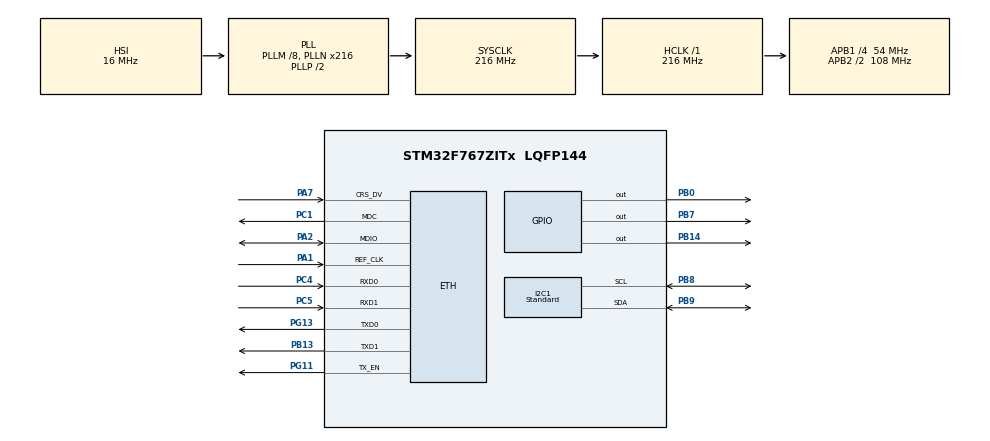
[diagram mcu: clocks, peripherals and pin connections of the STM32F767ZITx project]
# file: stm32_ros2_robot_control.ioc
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ETH.MediaInterface=HAL_ETH_RMII_MODE
FREERTOS.Tasks01=ethernetTask,-3,256,ethernetStatusCheck,Default,NULL,Dynamic,NULL,NULL;robotTask,-3,256,robotControl,Default,NULL,Dynamic,NULL,NULL;rosTask,0,5840,ros,Default,NULL,Dynamic,NULL,NULL
FREERTOS.configCHECK_FOR_STACK_OVERFLOW=1
FREERTOS.configTOTAL_HEAP_SIZE=30000
FREERTOS.configUSE_NEWLIB_REENTRANT=1
I2C1.I2C_Speed_Mode=I2C_Standard
I2C1.Timing=0x20404768
LWIP.BSP.number=1
LWIP.GATEWAY_ADDRESS=192.168.010.001
LWIP.IP_ADDRESS=192.168.010.023
LWIP.LWIP_DHCP=0
LWIP.LWIP_HTTPD=0
LWIP.NETMASK_ADDRESS=255.255.255.000
LWIP.Version=v2.1.2_Cube
LWIP0.BSP.STBoard=false
LWIP0.BSP.api=BSP_COMPONENT_DRIVER
LWIP0.BSP.component=LAN8742
LWIP0.BSP.instance=LAN8742
LWIP0.BSP.name=Driver_PHY
LWIP0.BSP.semaphore=S_LAN8742
LWIP0.BSP.solution=LAN8742
Mcu.Family=STM32F7
Mcu.Name=STM32F767ZITx
Mcu.Package=LQFP144
NVIC.ETH_IRQn=true\:5\:0\:false\:false\:true\:true\:false\:true\:true
NVIC.PriorityGroup=NVIC_PRIORITYGROUP_4
NVIC.TIM1_BRK_TIM9_IRQn=true\:15\:0\:false\:false\:true\:false\:false\:true\:true
NVIC.TimeBase=TIM1_BRK_TIM9_IRQn
NVIC.TimeBaseIP=TIM9
PA1.Mode=RMII
PA1.Signal=ETH_REF_CLK
PA2.Mode=RMII
PA2.Signal=ETH_MDIO
PA7.Mode=RMII
PA7.Signal=ETH_CRS_DV
PB0.Signal=GPIO_Output
PB13.Mode=RMII
PB13.Signal=ETH_TXD1
PB14.Signal=GPIO_Output
PB7.Signal=GPIO_Output
PB8.Mode=I2C
PB8.Signal=I2C1_SCL
PB9.Mode=I2C
PB9.Signal=I2C1_SDA
PC1.Mode=RMII
PC1.Signal=ETH_MDC
PC4.Mode=RMII
PC4.Signal=ETH_RXD0
PC5.Mode=RMII
PC5.Signal=ETH_RXD1
PG11.Mode=RMII
PG11.Signal=ETH_TX_EN
PG13.Mode=RMII
PG13.Signal=ETH_TXD0
ProjectManager.HeapSize=0x200
ProjectManager.StackSize=0x400
ProjectManager.TargetToolchain=STM32CubeIDE
RCC.AHBFreq_Value=216000000
RCC.APB1CLKDivider=RCC_HCLK_DIV4
RCC.APB1Freq_Value=54000000
RCC.APB1TimFreq_Value=108000000
RCC.APB2CLKDivider=RCC_HCLK_DIV2
RCC.APB2Freq_Value=108000000
RCC.APB2TimFreq_Value=216000000
RCC.CortexFreq_Value=216000000
RCC.HCLKFreq_Value=216000000
RCC.HSE_VALUE=25000000
RCC.HSI_VALUE=16000000
RCC.LSE_VALUE=32768
RCC.PLLM=8
RCC.PLLN=216
RCC.SYSCLKFreq_VALUE=216000000
RCC.SYSCLKSource=RCC_SYSCLKSOURCE_PLLCLK
RCC.USBFreq_Value=216000000
RCC.VCOOutputFreq_Value=432000000
VP_FREERTOS_VS_CMSIS_V1.Mode=CMSIS_V1
VP_LWIP_VS_Enabled.Mode=Enabled
VP_SYS_VS_tim9.Mode=TIM9
board=custom

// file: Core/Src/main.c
/* USER CODE BEGIN Header */
/**
  ******************************************************************************
  * @file           : main.c
  * @brief          : Main program body
  ******************************************************************************
  * @attention
  *
  * Copyright (c) 2025 STMicroelectronics.
  * All rights reserved.
  *
  * This software is licensed under terms that can be found in the LICENSE file
  * in the root directory of this software component.
  * If no LICENSE file comes with this software, it is provided AS-IS.
  *
  ******************************************************************************
  */
/* USER CODE END Header */
#include "main.h"
#include "cmsis_os.h"
#include "lwip.h"

/* USER CODE BEGIN Includes */
#include <stdbool.h>
#include <time.h>
#include <math.h>
#include <string.h>
#include <stdio.h>
#include "robot.h"

// Basic micro-ROS includes
#include <rcl/rcl.h>
#include <rclc/rclc.h>
#include <rclc/executor.h>
#include <rmw_microros/rmw_microros.h>
#include <std_msgs/msg/int32.h>
#include <std_msgs/msg/string.h>
#include <sensor_msgs/msg/joint_state.h>
#include <control_msgs/msg/joint_jog.h>
#include <trajectory_msgs/msg/joint_trajectory.h>
#include <uxr/client/transport.h>
/* USER CODE END Includes */

I2C_HandleTypeDef hi2c1;

osThreadId ethernetTaskHandle;
osThreadId robotTaskHandle;
osThreadId rosTaskHandle;
/* USER CODE BEGIN PV */
extern struct netif gnetif;

// Joint state variables for ros2_control integration
#define NUM_JOINTS 3
static double current_joint_positions[NUM_JOINTS] = {0.0, 0.0, 0.0};
static double target_joint_positions[NUM_JOINTS] = {0.0, 0.0, 0.0};
static double joint_velocities[NUM_JOINTS] = {0.0, 0.0, 0.0};
static double joint_efforts[NUM_JOINTS] = {0.0, 0.0, 0.0};

// Simple micro-ROS variables
rcl_node_t node;
rcl_publisher_t publisher;
rcl_subscription_t subscriber;
rcl_subscription_t joint_cmd_subscriber;
rcl_subscription_t trajectory_subscriber;
rclc_support_t support;
rclc_executor_t executor;
sensor_msgs__msg__JointState pub_msg;
std_msgs__msg__String sub_msg;
control_msgs__msg__JointJog joint_cmd_msg;
trajectory_msgs__msg__JointTrajectory trajectory_msg;

/* USER CODE END PV */

void SystemClock_Config(void);
static void MX_GPIO_Init(void);
static void MX_I2C1_Init(void);
void ethernetStatusCheck(void const * argument);
void robotControl(void const * argument);
void ros(void const * argument);

/* USER CODE BEGIN PFP */
void debugNetworkStatus(void);

// Simple micro-ROS functions
void joint_command_callback(const void * msgin);
void trajectory_callback(const void * msgin);

// Transport function prototypes (from udp_transport.c)
bool cubemx_transport_open(struct uxrCustomTransport * transport);
bool cubemx_transport_close(struct uxrCustomTransport * transport);
size_t cubemx_transport_write(struct uxrCustomTransport* transport, const uint8_t * buf, size_t len, uint8_t * err);
size_t cubemx_transport_read(struct uxrCustomTransport* transport, uint8_t* buf, size_t len, int timeout, uint8_t* err);
/* USER CODE END PFP */

/* USER CODE BEGIN 0 */

int _gettimeofday(struct timeval *tv, void *tzvp)
{
  (void)tzvp;
  uint64_t t = HAL_GetTick();
  tv->tv_sec = t / 1000;
  tv->tv_usec = (t % 1000) * 1000;
  return 0;
}

// Joint command callback for ros2_control integration
void joint_command_callback(const void * msgin)
{
  // Toggle blue LED to indicate callback entry
  HAL_GPIO_TogglePin(GPIOB, GPIO_PIN_7);

  const control_msgs__msg__JointJog * msg = (const control_msgs__msg__JointJog *)msgin;

  // Enhanced safety checks - CRITICAL for preventing crashes
  if (msg == NULL) {
    HAL_GPIO_TogglePin(GPIOB, GPIO_PIN_7); // Exit indicator
    return;
  }

  // Check if joint_names array exists and has valid size
  if (msg->joint_names.data == NULL || msg->joint_names.size == 0 || msg->joint_names.size > NUM_JOINTS) {
    HAL_GPIO_TogglePin(GPIOB, GPIO_PIN_7); // Exit indicator
    return;
  }

  // Check if displacements array exists and has valid size
  if (msg->displacements.data == NULL || msg->displacements.size == 0) {
    HAL_GPIO_TogglePin(GPIOB, GPIO_PIN_7); // Exit indicator
    return;
  }

  // Process joint commands with bounds checking
  size_t max_joints = (msg->joint_names.size < msg->displacements.size) ? msg->joint_names.size : msg->displacements.size;
  max_joints = (max_joints < NUM_JOINTS) ? max_joints : NUM_JOINTS;

  for (size_t i = 0; i < max_joints; i++) {
    // Validate displacement value
    double displacement = msg->displacements.data[i];

    // Check for NaN or infinite values
    if (!isfinite(displacement)) {
      continue; // Skip invalid values
    }

    // Clamp displacement to safe range (-π to π)
    if (displacement > 180) displacement = 180;
    if (displacement < 0) displacement = 0;

    // Update target position
    target_joint_positions[i] = displacement;

    /*// Convert radians to servo angle (0-180 degrees) with safety clamping
    double angle_rad = displacement;
    angle_rad = fmax(-M_PI/2, fmin(M_PI/2, angle_rad)); // Clamp to safe servo range
    uint8_t servo_angle = (uint8_t)((angle_rad + M_PI/2) * 180.0 / M_PI);

    // Additional servo angle validation
    if (servo_angle > 180) servo_angle = 180;
    */
    // Send command to servo (commented out for safety during debugging)
    set_servo(i, displacement);

    // Update current position for feedback
    current_joint_positions[i] = displacement;
  }

  // Toggle blue LED to indicate successful processing
  HAL_GPIO_TogglePin(GPIOB, GPIO_PIN_7);
}

// Trajectory callback for ros2_control integration
void trajectory_callback(const void * msgin)
{
  // Toggle blue LED to indicate callback entry
  HAL_GPIO_TogglePin(GPIOB, GPIO_PIN_7);

  const trajectory_msgs__msg__JointTrajectory * msg = (const trajectory_msgs__msg__JointTrajectory *)msgin;

  // Enhanced safety checks
  if (msg == NULL) {
    HAL_GPIO_TogglePin(GPIOB, GPIO_PIN_7);
    return;
  }

  // Check if points array exists and has data
  if (msg->points.data == NULL || msg->points.size == 0) {
    HAL_GPIO_TogglePin(GPIOB, GPIO_PIN_7);
    return;
  }

  // Get the first trajectory point with safety checks
  trajectory_msgs__msg__JointTrajectoryPoint* point = &msg->points.data[0];
  if (point == NULL) {
    HAL_GPIO_TogglePin(GPIOB, GPIO_PIN_7);
    return;
  }

  // Check positions array
  if (point->positions.data == NULL || point->positions.size == 0 || point->positions.size > NUM_JOINTS) {
    HAL_GPIO_TogglePin(GPIOB, GPIO_PIN_7);
    return;
  }

  // Process positions with bounds checking
  size_t max_joints = (point->positions.size < NUM_JOINTS) ? point->positions.size : NUM_JOINTS;

  for (size_t i = 0; i < max_joints; i++) {
    // Validate position value
    double position = point->positions.data[i];

    // Check for NaN or infinite values
    if (!isfinite(position)) {
      continue; // Skip invalid values
    }

    // Clamp position to safe range
    if (position > M_PI) position = M_PI;
    if (position < -M_PI) position = -M_PI;

    // Update target position
    target_joint_positions[i] = position;

    // Convert radians to servo angle with safety clamping
    double angle_rad = position;
    angle_rad = fmax(-M_PI/2, fmin(M_PI/2, angle_rad)); // Clamp to safe servo range
    uint8_t servo_angle = (uint8_t)((angle_rad + M_PI/2) * 180.0 / M_PI);

    // Additional servo angle validation
    if (servo_angle > 180) servo_angle = 180;

    // Send command to servo (commented out for safety during debugging)
    // set_servo(i, servo_angle);

    // Update current position
    current_joint_positions[i] = angle_rad;
  }

  // Handle velocities if provided and valid
  if (point->velocities.data != NULL && point->velocities.size > 0) {
    size_t max_vel_joints = (point->velocities.size < NUM_JOINTS) ? point->velocities.size : NUM_JOINTS;
    for (size_t i = 0; i < max_vel_joints; i++) {
      double velocity = point->velocities.data[i];
      if (isfinite(velocity)) {
        // Clamp velocity to reasonable range
        if (velocity > 10.0) velocity = 10.0;
        if (velocity < -10.0) velocity = -10.0;
        joint_velocities[i] = velocity;
      }
    }
  }

  // Handle efforts if provided and valid
  if (point->effort.data != NULL && point->effort.size > 0) {
    size_t max_eff_joints = (point->effort.size < NUM_JOINTS) ? point->effort.size : NUM_JOINTS;
    for (size_t i = 0; i < max_eff_joints; i++) {
      double effort = point->effort.data[i];
      if (isfinite(effort)) {
        // Clamp effort to reasonable range
        if (effort > 100.0) effort = 100.0;
        if (effort < -100.0) effort = -100.0;
        joint_efforts[i] = effort;
      }
    }
  }

  // Toggle blue LED to indicate successful processing
  HAL_GPIO_TogglePin(GPIOB, GPIO_PIN_7);
}

void debugNetworkStatus(void)
{
  if (netif_is_up(&gnetif) && netif_is_link_up(&gnetif)) {
    // Network is fully working - solid green
    HAL_GPIO_WritePin(GPIOB, GPIO_PIN_14, GPIO_PIN_RESET);  // Red OFF
    HAL_GPIO_WritePin(GPIOB, GPIO_PIN_0, GPIO_PIN_SET);     // Green ON
  } else {
    // No physical link - solid red
    HAL_GPIO_WritePin(GPIOB, GPIO_PIN_0, GPIO_PIN_RESET);   // Green OFF
    HAL_GPIO_WritePin(GPIOB, GPIO_PIN_14, GPIO_PIN_SET);    // Red ON
  }
}
/* USER CODE END 0 */

int main(void)
{

  /* MCU Configuration--------------------------------------------------------*/

  /* Reset of all peripherals, Initializes the Flash interface and the Systick. */
  HAL_Init();

  /* Configure the system clock */
  SystemClock_Config();

  /* Initialize all configured peripherals */
  MX_GPIO_Init();
  MX_I2C1_Init();
  /* USER CODE BEGIN 2 */
  HAL_Delay(100);
  /* USER CODE END 2 */

  /* Create the thread(s) */
  /* definition and creation of ethernetTask */
  osThreadDef(ethernetTask, ethernetStatusCheck, osPriorityIdle, 0, 256);
  ethernetTaskHandle = osThreadCreate(osThread(ethernetTask), NULL);

  /* definition and creation of robotTask */
  osThreadDef(robotTask, robotControl, osPriorityIdle, 0, 256);
  robotTaskHandle = osThreadCreate(osThread(robotTask), NULL);

  /* definition and creation of rosTask */
  osThreadDef(rosTask, ros, osPriorityNormal, 0, 3840);
  rosTaskHandle = osThreadCreate(osThread(rosTask), NULL);

  /* Start scheduler */
  osKernelStart();

  /* We should never get here as control is now taken by the scheduler */

  /* Infinite loop */
  while (1)
  {

  }
}

void SystemClock_Config(void)
{
  RCC_OscInitTypeDef RCC_OscInitStruct = {0};
  RCC_ClkInitTypeDef RCC_ClkInitStruct = {0};

  /** Configure the main internal regulator output voltage
  */
  __HAL_RCC_PWR_CLK_ENABLE();
  __HAL_PWR_VOLTAGESCALING_CONFIG(PWR_REGULATOR_VOLTAGE_SCALE1);

  /** Initializes the RCC Oscillators according to the specified parameters
  * in the RCC_OscInitTypeDef structure.
  */
  RCC_OscInitStruct.OscillatorType = RCC_OSCILLATORTYPE_HSI;
  RCC_OscInitStruct.HSIState = RCC_HSI_ON;
  RCC_OscInitStruct.HSICalibrationValue = RCC_HSICALIBRATION_DEFAULT;
  RCC_OscInitStruct.PLL.PLLState = RCC_PLL_ON;
  RCC_OscInitStruct.PLL.PLLSource = RCC_PLLSOURCE_HSI;
  RCC_OscInitStruct.PLL.PLLM = 8;
  RCC_OscInitStruct.PLL.PLLN = 216;
  RCC_OscInitStruct.PLL.PLLP = RCC_PLLP_DIV2;
  RCC_OscInitStruct.PLL.PLLQ = 2;
  RCC_OscInitStruct.PLL.PLLR = 2;
  if (HAL_RCC_OscConfig(&RCC_OscInitStruct) != HAL_OK)
  {
    Error_Handler();
  }

  /** Activate the Over-Drive mode
  */
  if (HAL_PWREx_EnableOverDrive() != HAL_OK)
  {
    Error_Handler();
  }

  /** Initializes the CPU, AHB and APB buses clocks
  */
  RCC_ClkInitStruct.ClockType = RCC_CLOCKTYPE_HCLK|RCC_CLOCKTYPE_SYSCLK
                              |RCC_CLOCKTYPE_PCLK1|RCC_CLOCKTYPE_PCLK2;
  RCC_ClkInitStruct.SYSCLKSource = RCC_SYSCLKSOURCE_PLLCLK;
  RCC_ClkInitStruct.AHBCLKDivider = RCC_SYSCLK_DIV1;
  RCC_ClkInitStruct.APB1CLKDivider = RCC_HCLK_DIV4;
  RCC_ClkInitStruct.APB2CLKDivider = RCC_HCLK_DIV2;

  if (HAL_RCC_ClockConfig(&RCC_ClkInitStruct, FLASH_LATENCY_7) != HAL_OK)
  {
    Error_Handler();
  }
}

static void MX_I2C1_Init(void)
{

  hi2c1.Instance = I2C1;
  hi2c1.Init.Timing = 0x20404768;
  hi2c1.Init.OwnAddress1 = 0;
  hi2c1.Init.AddressingMode = I2C_ADDRESSINGMODE_7BIT;
  hi2c1.Init.DualAddressMode = I2C_DUALADDRESS_DISABLE;
  hi2c1.Init.OwnAddress2 = 0;
  hi2c1.Init.OwnAddress2Masks = I2C_OA2_NOMASK;
  hi2c1.Init.GeneralCallMode = I2C_GENERALCALL_DISABLE;
  hi2c1.Init.NoStretchMode = I2C_NOSTRETCH_DISABLE;
  if (HAL_I2C_Init(&hi2c1) != HAL_OK)
  {
    Error_Handler();
  }

  /** Configure Analogue filter
  */
  if (HAL_I2CEx_ConfigAnalogFilter(&hi2c1, I2C_ANALOGFILTER_ENABLE) != HAL_OK)
  {
    Error_Handler();
  }

  /** Configure Digital filter
  */
  if (HAL_I2CEx_ConfigDigitalFilter(&hi2c1, 0) != HAL_OK)
  {
    Error_Handler();
  }

}

static void MX_GPIO_Init(void)
{
  GPIO_InitTypeDef GPIO_InitStruct = {0};

  /* GPIO Ports Clock Enable */
  __HAL_RCC_GPIOC_CLK_ENABLE();
  __HAL_RCC_GPIOA_CLK_ENABLE();
  __HAL_RCC_GPIOB_CLK_ENABLE();
  __HAL_RCC_GPIOG_CLK_ENABLE();

  /*Configure GPIO pin Output Level */
  HAL_GPIO_WritePin(GPIOB, GPIO_PIN_0|GPIO_PIN_14|GPIO_PIN_7, GPIO_PIN_RESET);

  /*Configure GPIO pins : PB0 PB14 PB7 */
  GPIO_InitStruct.Pin = GPIO_PIN_0|GPIO_PIN_14|GPIO_PIN_7;
  GPIO_InitStruct.Mode = GPIO_MODE_OUTPUT_PP;
  GPIO_InitStruct.Pull = GPIO_NOPULL;
  GPIO_InitStruct.Speed = GPIO_SPEED_FREQ_LOW;
  HAL_GPIO_Init(GPIOB, &GPIO_InitStruct);

}

void ethernetStatusCheck(void const * argument)
{
  /* init code for LWIP */
  MX_LWIP_Init();
  /* USER CODE BEGIN 5 */

  /* Infinite loop */
  for(;;)
  {
	debugNetworkStatus();
    osDelay(2000);
  }
  /* USER CODE END 5 */
}

void robotControl(void const * argument)
{
  /* USER CODE BEGIN robotControl */

  // Initialize robot hardware
  pca9685_init();

  // Initialize servos to safe starting positions
  set_servo(0, 90);   // Servo 0 to center
  set_servo(1, 90);   // Servo 1 to center
  set_servo(2, 90);   // Servo 2 to center

  current_joint_positions[0] = 90;
  current_joint_positions[1] = 90;
  current_joint_positions[2] = 90;

  for (;;) {
	  osDelay(2000);
  }
  /* USER CODE END robotControl */
}

void ros(void const * argument)
{
  /* USER CODE BEGIN ros */

  // Wait for network to be ready - use longer delays to give Ethernet task time
  uint32_t network_wait_count = 0;
  while (!netif_is_up(&gnetif) || !netif_is_link_up(&gnetif)) {
    network_wait_count++;

    // Blink blue LED to show we're waiting for network
    if (network_wait_count % 10 == 0) {
      HAL_GPIO_TogglePin(GPIOB, GPIO_PIN_7);
    }

    osDelay(1000);  // 1 second delay - gives plenty of time for Ethernet task
  }

  // Network is ready - turn off blue LED
  HAL_GPIO_WritePin(GPIOB, GPIO_PIN_7, GPIO_PIN_RESET);

  // Setup micro-ROS transport
  rmw_uros_set_custom_transport(
    false,
    "192.168.10.1",  // Change to your micro-ROS agent IP
    cubemx_transport_open,
    cubemx_transport_close,
    cubemx_transport_write,
    cubemx_transport_read
  );

  // Initialize micro-ROS
  rcl_allocator_t allocator = rcl_get_default_allocator();

  // Create support
  if (rclc_support_init(&support, 0, NULL, &allocator) != RCL_RET_OK) {
    // Error - blink red LED fast
    for(;;) {
      HAL_GPIO_TogglePin(GPIOB, GPIO_PIN_7);
      osDelay(100);
    }
  }

  // Create node
  if (rclc_node_init_default(&node, "stm32_simple_node", "", &support) != RCL_RET_OK) {
    // Error - blink red LED fast
    for(;;) {
      HAL_GPIO_TogglePin(GPIOB, GPIO_PIN_14);
      osDelay(100);
    }
  }

  // Create publisher
  if (rclc_publisher_init_default(
    &publisher,
    &node,
    ROSIDL_GET_MSG_TYPE_SUPPORT(sensor_msgs, msg, JointState),
    "joint_states") != RCL_RET_OK) {
    // Error - blink red LED medium
    for(;;) {
      HAL_GPIO_TogglePin(GPIOB, GPIO_PIN_7);
      osDelay(400);
    }
  }

  // Create joint command subscriber for ros2_control
  if (rclc_subscription_init_default(
    &joint_cmd_subscriber,
    &node,
    ROSIDL_GET_MSG_TYPE_SUPPORT(control_msgs, msg, JointJog),
    "joint_command") != RCL_RET_OK) {
    // Error - blink red LED medium
    for(;;) {
      HAL_GPIO_TogglePin(GPIOB, GPIO_PIN_7);
      osDelay(400);
    }
  }

  // Create trajectory subscriber for ros2_control
  if (rclc_subscription_init_default(
    &trajectory_subscriber,
    &node,
    ROSIDL_GET_MSG_TYPE_SUPPORT(trajectory_msgs, msg, JointTrajectory),
    "joint_trajectory") != RCL_RET_OK) {
    // Error - blink red LED medium
    for(;;) {
      HAL_GPIO_TogglePin(GPIOB, GPIO_PIN_7);
      osDelay(400);
    }
  }

  // Create executor
  if (rclc_executor_init(&executor, &support.context, 5, &allocator) != RCL_RET_OK) {
    // Error - blink blue LED  slow
    for(;;) {
      HAL_GPIO_TogglePin(GPIOB, GPIO_PIN_7);
      osDelay(1000);
    }
  }

  // Add joint command subscription to executor
  if (rclc_executor_add_subscription(&executor, &joint_cmd_subscriber, &joint_cmd_msg,
    &joint_command_callback, ON_NEW_DATA) != RCL_RET_OK) {
    // Error - blink red LED  slow
    for(;;) {
      HAL_GPIO_TogglePin(GPIOB, GPIO_PIN_14);
      osDelay(1000);
    }
  }

  // Add trajectory subscription to executor
  if (rclc_executor_add_subscription(&executor, &trajectory_subscriber, &trajectory_msg,
    &trajectory_callback, ON_NEW_DATA) != RCL_RET_OK) {
    // Error - blink red LED  slow
    for(;;) {
      HAL_GPIO_TogglePin(GPIOB, GPIO_PIN_14);
      osDelay(1000);
    }
  }

  // Initialize messages
  // Initialize JointState message
  pub_msg.header.frame_id.data = (char*)malloc(10);
  pub_msg.header.frame_id.size = 0;
  pub_msg.header.frame_id.capacity = 10;

  const size_t num_joints = 3;

  pub_msg.name.data = (rosidl_runtime_c__String*)malloc(num_joints * sizeof(rosidl_runtime_c__String));
  pub_msg.name.size = num_joints;
  pub_msg.name.capacity = num_joints;

  pub_msg.position.data = (double*)malloc(num_joints * sizeof(double));
  pub_msg.position.size = num_joints;
  pub_msg.position.capacity = num_joints;

  pub_msg.velocity.data = (double*)malloc(num_joints * sizeof(double));
  pub_msg.velocity.size = num_joints;
  pub_msg.velocity.capacity = num_joints;

  pub_msg.effort.data = (double*)malloc(num_joints * sizeof(double));
  pub_msg.effort.size = num_joints;
  pub_msg.effort.capacity = num_joints;

  // Initialize joint names and values
  const char* joint_names[NUM_JOINTS] = {"joint_1", "joint_2", "joint_3"};
  for (size_t i = 0; i < num_joints; i++) {
    pub_msg.name.data[i].data = (char*)malloc(20);
    pub_msg.name.data[i].capacity = 20;
    strcpy(pub_msg.name.data[i].data, joint_names[i]);
    pub_msg.name.data[i].size = strlen(joint_names[i]);

    pub_msg.position.data[i] = current_joint_positions[i];
    pub_msg.velocity.data[i] = joint_velocities[i];
    pub_msg.effort.data[i] = joint_efforts[i];
  }

  sub_msg.data.data = (char*)malloc(50);
  sub_msg.data.size = 0;
  sub_msg.data.capacity = 50;

  // Initialize joint command message
  joint_cmd_msg.header.frame_id.data = (char*)malloc(10);
  joint_cmd_msg.header.frame_id.size = 0;
  joint_cmd_msg.header.frame_id.capacity = 10;

  joint_cmd_msg.joint_names.data = (rosidl_runtime_c__String*)malloc(NUM_JOINTS * sizeof(rosidl_runtime_c__String));
  if (joint_cmd_msg.joint_names.data == NULL) {
    for(;;) {
      HAL_GPIO_TogglePin(GPIOB, GPIO_PIN_14);
      osDelay(100);
    }
  }
  joint_cmd_msg.joint_names.size = 0;
  joint_cmd_msg.joint_names.capacity = NUM_JOINTS;

  // CRITICAL: Initialize individual joint name strings
  for (size_t i = 0; i < NUM_JOINTS; i++) {
    joint_cmd_msg.joint_names.data[i].data = (char*)malloc(20);
    if (joint_cmd_msg.joint_names.data[i].data == NULL) {
      for(;;) {
        HAL_GPIO_TogglePin(GPIOB, GPIO_PIN_14);
        osDelay(100);
      }
    }
    joint_cmd_msg.joint_names.data[i].capacity = 20;
    joint_cmd_msg.joint_names.data[i].size = 0;
  }

  joint_cmd_msg.displacements.data = (double*)malloc(NUM_JOINTS * sizeof(double));
  if (joint_cmd_msg.displacements.data == NULL) {
    for(;;) {
      HAL_GPIO_TogglePin(GPIOB, GPIO_PIN_14);
      osDelay(100);
    }
  }
  joint_cmd_msg.displacements.size = 0;
  joint_cmd_msg.displacements.capacity = NUM_JOINTS;

  joint_cmd_msg.velocities.data = (double*)malloc(NUM_JOINTS * sizeof(double));
  if (joint_cmd_msg.velocities.data == NULL) {
    for(;;) {
      HAL_GPIO_TogglePin(GPIOB, GPIO_PIN_14);
      osDelay(100);
    }
  }
  joint_cmd_msg.velocities.size = 0;
  joint_cmd_msg.velocities.capacity = NUM_JOINTS;

  // Initialize trajectory message (basic allocation)
  trajectory_msg.header.frame_id.data = (char*)malloc(10);
  if (trajectory_msg.header.frame_id.data == NULL) {
    for(;;) {
      HAL_GPIO_TogglePin(GPIOB, GPIO_PIN_14);
      osDelay(100);
    }
  }
  trajectory_msg.header.frame_id.size = 0;
  trajectory_msg.header.frame_id.capacity = 10;

  trajectory_msg.joint_names.data = (rosidl_runtime_c__String*)malloc(NUM_JOINTS * sizeof(rosidl_runtime_c__String));
  if (trajectory_msg.joint_names.data == NULL) {
    for(;;) {
      HAL_GPIO_TogglePin(GPIOB, GPIO_PIN_14);
      osDelay(100);
    }
  }
  trajectory_msg.joint_names.size = 0;
  trajectory_msg.joint_names.capacity = NUM_JOINTS;

  // CRITICAL: Initialize trajectory joint name strings
  for (size_t i = 0; i < NUM_JOINTS; i++) {
    trajectory_msg.joint_names.data[i].data = (char*)malloc(20);
    if (trajectory_msg.joint_names.data[i].data == NULL) {
      for(;;) {
        HAL_GPIO_TogglePin(GPIOB, GPIO_PIN_14);
        osDelay(100);
      }
    }
    trajectory_msg.joint_names.data[i].capacity = 20;
    trajectory_msg.joint_names.data[i].size = 0;
  }

  trajectory_msg.points.data = (trajectory_msgs__msg__JointTrajectoryPoint*)malloc(sizeof(trajectory_msgs__msg__JointTrajectoryPoint));
  if (trajectory_msg.points.data == NULL) {
    for(;;) {
      HAL_GPIO_TogglePin(GPIOB, GPIO_PIN_14);
      osDelay(100);
    }
  }
  trajectory_msg.points.size = 0;
  trajectory_msg.points.capacity = 1;

  // CRITICAL: Initialize trajectory point arrays - THIS PREVENTS CRASHES!
  trajectory_msg.points.data[0].positions.data = (double*)malloc(NUM_JOINTS * sizeof(double));
  if (trajectory_msg.points.data[0].positions.data == NULL) {
    for(;;) {
      HAL_GPIO_TogglePin(GPIOB, GPIO_PIN_14);
      osDelay(100);
    }
  }
  trajectory_msg.points.data[0].positions.capacity = NUM_JOINTS;
  trajectory_msg.points.data[0].positions.size = 0;

  trajectory_msg.points.data[0].velocities.data = (double*)malloc(NUM_JOINTS * sizeof(double));
  if (trajectory_msg.points.data[0].velocities.data == NULL) {
    for(;;) {
      HAL_GPIO_TogglePin(GPIOB, GPIO_PIN_14);
      osDelay(100);
    }
  }
  trajectory_msg.points.data[0].velocities.capacity = NUM_JOINTS;
  trajectory_msg.points.data[0].velocities.size = 0;

  trajectory_msg.points.data[0].effort.data = (double*)malloc(NUM_JOINTS * sizeof(double));
  if (trajectory_msg.points.data[0].effort.data == NULL) {
    for(;;) {
      HAL_GPIO_TogglePin(GPIOB, GPIO_PIN_14);
      osDelay(100);
    }
  }
  trajectory_msg.points.data[0].effort.capacity = NUM_JOINTS;
  trajectory_msg.points.data[0].effort.size = 0;

  // Success - solid green LED
  HAL_GPIO_WritePin(GPIOB, GPIO_PIN_0, GPIO_PIN_SET);

  /* Infinite loop */
  for(;;)
  {
    // Handle subscriptions
    rclc_executor_spin_some(&executor, RCL_MS_TO_NS(1));

    // Publish joint state every 1 second
    // Update timestamp
    uint64_t time = HAL_GetTick();
    pub_msg.header.stamp.sec = time / 1000;
    pub_msg.header.stamp.nanosec = (time % 1000) * 1000000;

    // Update joint positions with actual hardware state
    for (size_t i = 0; i < pub_msg.position.size; i++) {
      pub_msg.position.data[i] = current_joint_positions[i];
      pub_msg.velocity.data[i] = joint_velocities[i];
      pub_msg.effort.data[i] = joint_efforts[i];
    }

    rcl_publish(&publisher, &pub_msg, NULL);

    osDelay(9);
  }
  /* USER CODE END ros */
}

void HAL_TIM_PeriodElapsedCallback(TIM_HandleTypeDef *htim)
{
  if (htim->Instance == TIM9)
  {
    HAL_IncTick();
  }
}

void Error_Handler(void)
{
  __disable_irq();
  while (1)
  {
  }
}

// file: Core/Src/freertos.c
/* USER CODE BEGIN Header */
/**
  ******************************************************************************
  * File Name          : freertos.c
  * Description        : Code for freertos applications
  ******************************************************************************
  * @attention
  *
  * Copyright (c) 2025 STMicroelectronics.
  * All rights reserved.
  *
  * This software is licensed under terms that can be found in the LICENSE file
  * in the root directory of this software component.
  * If no LICENSE file comes with this software, it is provided AS-IS.
  *
  ******************************************************************************
  */
/* USER CODE END Header */

#include "FreeRTOS.h"
#include "task.h"
#include "main.h"

/* GetIdleTaskMemory prototype (linked to static allocation support) */
void vApplicationGetIdleTaskMemory( StaticTask_t **ppxIdleTaskTCBBuffer, StackType_t **ppxIdleTaskStackBuffer, uint32_t *pulIdleTaskStackSize );

/* Hook prototypes */
void vApplicationStackOverflowHook(xTaskHandle xTask, signed char *pcTaskName);

/* USER CODE BEGIN 4 */
__weak void vApplicationStackOverflowHook(xTaskHandle xTask, signed char *pcTaskName)
{
	HAL_GPIO_WritePin(GPIOB, GPIO_PIN_7, GPIO_PIN_SET);
}
/* USER CODE END 4 */

/* USER CODE BEGIN GET_IDLE_TASK_MEMORY */
static StaticTask_t xIdleTaskTCBBuffer;
static StackType_t xIdleStack[configMINIMAL_STACK_SIZE];

void vApplicationGetIdleTaskMemory( StaticTask_t **ppxIdleTaskTCBBuffer, StackType_t **ppxIdleTaskStackBuffer, uint32_t *pulIdleTaskStackSize )
{
  *ppxIdleTaskTCBBuffer = &xIdleTaskTCBBuffer;
  *ppxIdleTaskStackBuffer = &xIdleStack[0];
  *pulIdleTaskStackSize = configMINIMAL_STACK_SIZE;
  /* place for user code */
}
/* USER CODE END GET_IDLE_TASK_MEMORY */
